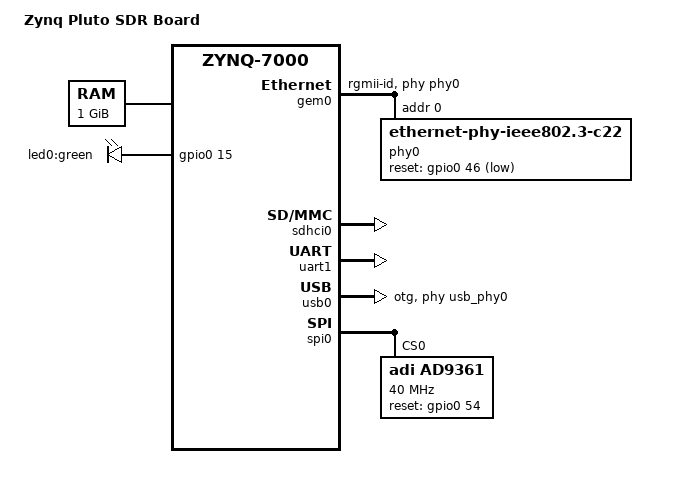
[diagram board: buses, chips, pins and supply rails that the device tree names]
/dts-v1/;
#include "zynq-7000.dtsi"
/ {
    model = "Zynq Pluto SDR Board";
	compatible = "xlnx,zynq-7000";

	memory@0 {
		device_type = "memory";
		reg = <0x0 0x40000000>;
	};

	chosen {
		bootargs = "earlyprintk";
		stdout-path = "serial0:115200n8";
	};

	aliases {
		ethernet0 = &gem0;
		serial0 = &uart1;
		mmc0 = &sdhci0;
		usb0 = &usb0;
	};

	usb_phy0: phy0 {
	    compatible = "ulpi-phy";
	    #phy-cells = <0>;
	    reg = <0xe0002000 0x1000>;
	    view-port = <0x0170>;
	    drv-vbus;
	};

	clocks {
		ad9361_clkin: clock@0 {
			#clock-cells = <0>;
			compatible = "adjustable-clock";
			clock-frequency = <40000000>;
			clock-accuracy = <200000>; /* 200 ppm (ppb) */
			clock-output-names = "ad9361_ext_refclk";
		};
	};

	leds {
		compatible = "gpio-leds";

		led0 {
			label = "led0:green";
			gpios = <&gpio0 15 0>;
		};
	};

	magic {
        compatible = "magic,dma";
        dmas = <&axi_dma_0 0>, <&axi_dma_0 1>;
        dma-names = "tx", "rx";
    };
};

&gem0 {
	status = "okay";
	phy-mode = "rgmii-id";
	phy-handle = <&phy0>;
	local-mac-address = [00 0a 35 00 01 22];

	phy0: phy@0 {
		reg = <0>;
		compatible = "ethernet-phy-ieee802.3-c22";
		reset-gpios = <&gpio0 46 1>;
	};
};

&sdhci0 {
	status = "okay";
	xlnx,has-cd = <0x0>;
	xlnx,has-power = <0x0>;
	xlnx,has-wp = <0x0>;
};

&uart1 {
	status = "okay";
};

&usb0 {
	xlnx,phy-reset-gpio = <&gpio0 47 0>;
	dr_mode = "otg";
	status = "okay";
	usb-phy = <&usb_phy0>;
};

// &spi0 {
//     status = "okay";
//     num-cs = <1>;

//     spidev@0 {
//         compatible = "rohm,dh2228fv";
//         reg = <0>;
//         spi-max-frequency = <50000000>;
//     };
// };

&spi0 {
	status = "okay";

	ad9361: ad9361-phy@0 {
		compatible = "adi,ad9361";
		reg = <0>;

		#address-cells = <1>;
		#size-cells = <0>;
		#clock-cells = <1>;

		spi-max-frequency = <40000000>;
		spi-cpha;

		clocks = <&ad9361_clkin 0>;
		clock-names = "ad9361_ext_refclk";
		clock-output-names = "rx_sampl_clk", "tx_sampl_clk";

		/* Digital Interface Control */

		 /* adi,digital-interface-tune-skip-mode:
		  * 0 = TUNE RX&TX
		  * 1 = SKIP TX
		  * 2 = SKIP ALL
		  */
		//adi,digital-interface-tune-skip-mode = <0>;

		adi,rx-frame-pulse-mode-enable;

		adi,xo-disable-use-ext-refclk-enable;

		/* Enable CMOS Mode */
		adi,full-port-enable;
		adi,swap-ports-enable;
		adi,digital-interface-tune-fir-disable;

		adi,digital-interface-tune-skip-mode = <1>; /* TUNE RX & TX */
		adi,tx-fb-clock-delay = <0>;
		adi,tx-data-delay = <9>;

		/* Mode Setup */

		//adi,split-gain-table-mode-enable;

		/* ENSM Mode */
		adi,frequency-division-duplex-mode-enable;
		//adi,ensm-enable-pin-pulse-mode-enable;
		//adi,ensm-enable-txnrx-control-enable;


		/* adi,rx-rf-port-input-select:
		 * 0 = (RX1A_N &  RX1A_P) and (RX2A_N & RX2A_P) enabled; balanced
		 * 1 = (RX1B_N &  RX1B_P) and (RX2B_N & RX2B_P) enabled; balanced
		 * 2 = (RX1C_N &  RX1C_P) and (RX2C_N & RX2C_P) enabled; balanced
		 *
		 * 3 = RX1A_N and RX2A_N enabled; unbalanced
		 * 4 = RX1A_P and RX2A_P enabled; unbalanced
		 * 5 = RX1B_N and RX2B_N enabled; unbalanced
		 * 6 = RX1B_P and RX2B_P enabled; unbalanced
		 * 7 = RX1C_N and RX2C_N enabled; unbalanced
		 * 8 = RX1C_P and RX2C_P enabled; unbalanced
		 */

		adi,rx-rf-port-input-select = <1>; /* (RX1A_N &  RX1A_P) and (RX2A_N & RX2A_P) enabled; balanced */
		adi,rx-rf-port-input-select-lock-enable;

		/* adi,tx-rf-port-input-select:
		 * 0	TX1A, TX2A
		 * 1	TX1B, TX2B
		 */

		adi,tx-rf-port-input-select = <0>; /* TX1A, TX2A */
		adi,tx-rf-port-input-select-lock-enable;

		//adi,update-tx-gain-in-alert-enable;
		adi,tx-attenuation-mdB = <10000>;
		adi,tx-lo-powerdown-managed-enable;

		adi,rf-rx-bandwidth-hz = <18000000>;
		adi,rf-tx-bandwidth-hz = <18000000>;
		adi,rx-synthesizer-frequency-hz = /bits/ 64 <5658000000>;
		adi,tx-synthesizer-frequency-hz = /bits/ 64 <5658000000>;

		/*				BBPLL     ADC        R2CLK     R1CLK    CLKRF    RSAMPL  */
		adi,rx-path-clock-frequencies = <983040000 245760000 122880000 61440000 30720000 30720000>;
		/*				BBPLL     DAC        T2CLK     T1CLK    CLKTF    TSAMPL  */
		adi,tx-path-clock-frequencies = <983040000 122880000 122880000 61440000 30720000 30720000>;

		/* Gain Control */

		/* adi,gc-rx[1|2]-mode:
		 * 0 = RF_GAIN_MGC
		 * 1 = RF_GAIN_FASTATTACK_AGC
		 * 2 = RF_GAIN_SLOWATTACK_AGC
		 * 3 = RF_GAIN_HYBRID_AGC
		 */

		adi,gc-rx1-mode = <2>;
		adi,gc-rx2-mode = <2>;
		adi,gc-adc-ovr-sample-size = <4>; /* sum 4 samples */
		adi,gc-adc-small-overload-thresh = <47>; /* sum of squares */
		adi,gc-adc-large-overload-thresh = <58>; /* sum of squares */
		adi,gc-lmt-overload-high-thresh = <800>; /* mV */
		adi,gc-lmt-overload-low-thresh = <704>; /* mV */
		adi,gc-dec-pow-measurement-duration = <8192>; /* 0..524288 Samples */
		adi,gc-low-power-thresh = <24>; /* 0..-64 dBFS vals are set pos */
		//adi,gc-dig-gain-enable;
		//adi,gc-max-dig-gain = <15>;

		/* Manual Gain Control Setup */

		//adi,mgc-rx1-ctrl-inp-enable; /* uncomment to use ctrl inputs */
		//adi,mgc-rx2-ctrl-inp-enable; /* uncomment to use ctrl inputs */
		adi,mgc-inc-gain-step = <2>;
		adi,mgc-dec-gain-step = <2>;

		/* adi,mgc-split-table-ctrl-inp-gain-mode:
		 * (relevant if adi,split-gain-table-mode-enable is set)
		 * 0 = AGC determine this
		 * 1 = only in LPF
		 * 2 = only in LMT
		 */

		adi,mgc-split-table-ctrl-inp-gain-mode = <0>;

		/* Automatic Gain Control Setup */

		adi,agc-attack-delay-extra-margin-us= <1>; /* us */
		adi,agc-outer-thresh-high = <5>; /* -dBFS */
		adi,agc-outer-thresh-high-dec-steps = <2>; /* 0..15 */
		adi,agc-inner-thresh-high = <10>; /* -dBFS */
		adi,agc-inner-thresh-high-dec-steps = <1>; /* 0..7 */
		adi,agc-inner-thresh-low = <12>; /* -dBFS */
		adi,agc-inner-thresh-low-inc-steps = <1>; /* 0..7 */
		adi,agc-outer-thresh-low = <18>; /* -dBFS */
		adi,agc-outer-thresh-low-inc-steps = <2>; /* 0..15 */

		adi,agc-adc-small-overload-exceed-counter = <10>; /* 0..15 */
		adi,agc-adc-large-overload-exceed-counter = <10>; /* 0..15 */
		adi,agc-adc-large-overload-inc-steps = <2>; /* 0..15 */
		//adi,agc-adc-lmt-small-overload-prevent-gain-inc-enable;
		adi,agc-lmt-overload-large-exceed-counter = <10>; /* 0..15 */
		adi,agc-lmt-overload-small-exceed-counter = <10>; /* 0..15 */
		adi,agc-lmt-overload-large-inc-steps = <2>; /* 0..7 */
		//adi,agc-dig-saturation-exceed-counter = <3>; /* 0..15 */
		//adi,agc-dig-gain-step-size = <4>; /* 1..8 */

		//adi,agc-sync-for-gain-counter-enable;
		adi,agc-gain-update-interval-us = <1000>;  /* 1ms */
		//adi,agc-immed-gain-change-if-large-adc-overload-enable;
		//adi,agc-immed-gain-change-if-large-lmt-overload-enable;

		/* Fast AGC */

		adi,fagc-dec-pow-measurement-duration = <64>; /* 64 Samples */
                //adi,fagc-allow-agc-gain-increase-enable;
                adi,fagc-lp-thresh-increment-steps = <1>;
                adi,fagc-lp-thresh-increment-time = <5>;

                adi,fagc-energy-lost-stronger-sig-gain-lock-exit-cnt = <8>;
                adi,fagc-final-overrange-count = <3>;
                //adi,fagc-gain-increase-after-gain-lock-enable;
                adi,fagc-gain-index-type-after-exit-rx-mode = <0>;
                adi,fagc-lmt-final-settling-steps = <1>;
                adi,fagc-lock-level = <10>;
                adi,fagc-lock-level-gain-increase-upper-limit = <5>;
                adi,fagc-lock-level-lmt-gain-increase-enable;

                adi,fagc-lpf-final-settling-steps = <1>;
                adi,fagc-optimized-gain-offset = <5>;
                adi,fagc-power-measurement-duration-in-state5 = <64>;
                adi,fagc-rst-gla-engergy-lost-goto-optim-gain-enable;
                adi,fagc-rst-gla-engergy-lost-sig-thresh-below-ll = <10>;
                adi,fagc-rst-gla-engergy-lost-sig-thresh-exceeded-enable;
                adi,fagc-rst-gla-if-en-agc-pulled-high-mode = <0>;
                adi,fagc-rst-gla-large-adc-overload-enable;
                adi,fagc-rst-gla-large-lmt-overload-enable;
                adi,fagc-rst-gla-stronger-sig-thresh-above-ll = <10>;
                adi,fagc-rst-gla-stronger-sig-thresh-exceeded-enable;
                adi,fagc-state-wait-time-ns = <260>;
                adi,fagc-use-last-lock-level-for-set-gain-enable;

		/* RSSI */

		/* adi,rssi-restart-mode:
		 * 0 = AGC_IN_FAST_ATTACK_MODE_LOCKS_THE_GAIN,
		 * 1 = EN_AGC_PIN_IS_PULLED_HIGH,
		 * 2 = ENTERS_RX_MODE,
		 * 3 = GAIN_CHANGE_OCCURS,
		 * 4 = SPI_WRITE_TO_REGISTER,
		 * 5 = GAIN_CHANGE_OCCURS_OR_EN_AGC_PIN_PULLED_HIGH,
		 */
		adi,rssi-restart-mode = <3>;
		//adi,rssi-unit-is-rx-samples-enable;
		adi,rssi-delay = <1>; /* 1us */
		adi,rssi-wait = <1>; /* 1us */
		adi,rssi-duration = <1000>; /* 1ms */

		/* Control Outputs */
		adi,ctrl-outs-index = <0>;
		adi,ctrl-outs-enable-mask = <0xFF>;

		/* AuxADC Temp Sense Control */

		adi,temp-sense-measurement-interval-ms = <1000>;
		adi,temp-sense-offset-signed = <0xCE>;
		adi,temp-sense-periodic-measurement-enable;

		/* AuxDAC Control */

		adi,aux-dac-manual-mode-enable;

		adi,aux-dac1-default-value-mV = <0>;
		//adi,aux-dac1-active-in-rx-enable;
		//adi,aux-dac1-active-in-tx-enable;
		//adi,aux-dac1-active-in-alert-enable;
		adi,aux-dac1-rx-delay-us = <0>;
		adi,aux-dac1-tx-delay-us = <0>;

		adi,aux-dac2-default-value-mV = <0>;
		//adi,aux-dac2-active-in-rx-enable;
		//adi,aux-dac2-active-in-tx-enable;
		//adi,aux-dac2-active-in-alert-enable;
		adi,aux-dac2-rx-delay-us = <0>;
		adi,aux-dac2-tx-delay-us = <0>;

		reset-gpios = <&gpio0 54 0>;
	};
};

&amba {
    axi_dma_0: dma@40400000 {
        #dma-cells = <1>;
        clock-names = "s_axi_lite_aclk", "m_axi_sg_aclk", "m_axi_mm2s_aclk", "m_axi_s2mm_aclk";
        clocks = <&clkc 15>, <&clkc 15>, <&clkc 15>, <&clkc 15>;
        compatible = "xlnx,axi-dma-1.00.a";
        interrupt-parent = <&intc>;
        interrupts = <0 29 4 0 30 4>;
        reg = <0x40400000 0x10000>;
        xlnx,addrwidth = <0x20>;
        xlnx,include-sg ;
        dma-channel@40400000 {
                compatible = "xlnx,axi-dma-mm2s-channel";
                dma-channels = <0x1>;
                interrupts = <0 29 4>;
                xlnx,datawidth = <0x20>;
                xlnx,device-id = <0x0>;
                xlnx,include-dre ;
        };
        dma-channel@40400030 {
                compatible = "xlnx,axi-dma-s2mm-channel";
                dma-channels = <0x1>;
                interrupts = <0 30 4>;
                xlnx,datawidth = <0x20>;
                xlnx,device-id = <0x0>;
                xlnx,include-dre ;
        };
    };
};
